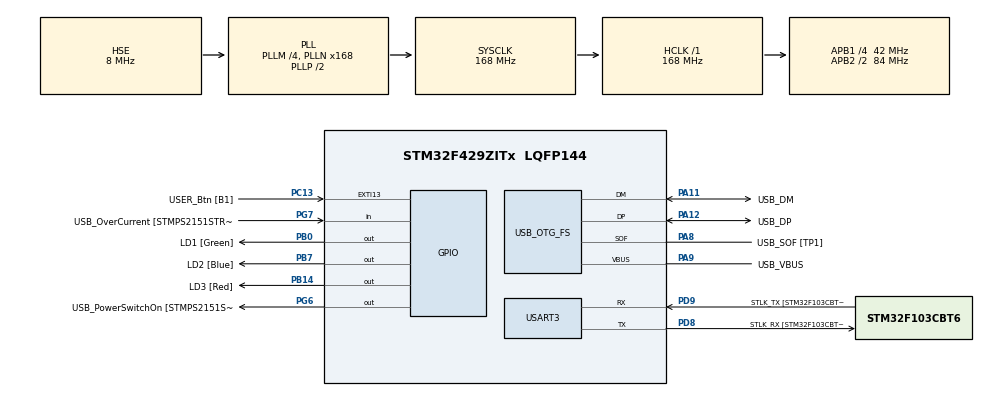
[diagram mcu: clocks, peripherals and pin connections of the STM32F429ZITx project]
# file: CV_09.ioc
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Mcu.Family=STM32F4
Mcu.Name=STM32F429ZITx
Mcu.Package=LQFP144
NVIC.OTG_FS_IRQn=true\:0\:0\:false\:false\:true\:false\:true
NVIC.PriorityGroup=NVIC_PRIORITYGROUP_4
PA1.GPIO_Label=RMII_REF_CLK [LAN8742A-CZ-TR_REFCLK0]
PA1.Signal=ETH_REF_CLK
PA10.GPIO_Label=USB_ID
PA10.Signal=USB_OTG_FS_ID
PA11.GPIO_Label=USB_DM
PA11.Mode=Device_Only
PA11.Signal=USB_OTG_FS_DM
PA12.GPIO_Label=USB_DP
PA12.Mode=Device_Only
PA12.Signal=USB_OTG_FS_DP
PA13.GPIO_Label=TMS
PA13.Mode=Serial_Wire
PA13.Signal=SYS_JTMS-SWDIO
PA14.GPIO_Label=TCK
PA14.Mode=Serial_Wire
PA14.Signal=SYS_JTCK-SWCLK
PA2.GPIO_Label=RMII_MDIO [LAN8742A-CZ-TR_MDIO]
PA2.Signal=ETH_MDIO
PA7.GPIO_Label=RMII_CRS_DV [LAN8742A-CZ-TR_CRS_DV]
PA7.Signal=ETH_CRS_DV
PA8.GPIO_Label=USB_SOF [TP1]
PA8.Mode=Activate_SOF_FS
PA8.Signal=USB_OTG_FS_SOF
PA9.GPIO_Label=USB_VBUS
PA9.Mode=Activate_VBUS
PA9.Signal=USB_OTG_FS_VBUS
PB0.GPIO_Label=LD1 [Green]
PB0.Signal=GPIO_Output
PB13.GPIO_Label=RMII_TXD1 [LAN8742A-CZ-TR_TXD1]
PB13.Signal=ETH_TXD1
PB14.GPIO_Label=LD3 [Red]
PB14.Signal=GPIO_Output
PB7.GPIO_Label=LD2 [Blue]
PB7.Signal=GPIO_Output
PC1.GPIO_Label=RMII_MDC [LAN8742A-CZ-TR_MDC]
PC1.Signal=ETH_MDC
PC13.GPIO_Label=USER_Btn [B1]
PC13.Signal=GPXTI13
PC14/OSC32_IN.Mode=LSE-External-Oscillator
PC14/OSC32_IN.Signal=RCC_OSC32_IN
PC15/OSC32_OUT.Mode=LSE-External-Oscillator
PC15/OSC32_OUT.Signal=RCC_OSC32_OUT
PC4.GPIO_Label=RMII_RXD0 [LAN8742A-CZ-TR_RXD0]
PC4.Signal=ETH_RXD0
PC5.GPIO_Label=RMII_RXD1 [LAN8742A-CZ-TR_RXD1]
PC5.Signal=ETH_RXD1
PD8.GPIO_Label=STLK_RX [STM32F103CBT6_PA3]
PD8.Mode=Asynchronous
PD8.Signal=USART3_TX
PD9.GPIO_Label=STLK_TX [STM32F103CBT6_PA2]
PD9.Mode=Asynchronous
PD9.Signal=USART3_RX
PG11.GPIO_Label=RMII_TX_EN [LAN8742A-CZ-TR_TXEN]
PG11.Signal=ETH_TX_EN
PG13.GPIO_Label=RMII_TXD0 [LAN8742A-CZ-TR_TXD0]
PG13.Signal=ETH_TXD0
PG6.GPIO_Label=USB_PowerSwitchOn [STMPS2151STR_EN]
PG6.Signal=GPIO_Output
PG7.GPIO_Label=USB_OverCurrent [STMPS2151STR_FAULT]
PG7.Signal=GPIO_Input
PH0/OSC_IN.GPIO_Label=MCO [STM32F103CBT6_PA8]
PH0/OSC_IN.Mode=HSE-External-Clock-Source
PH0/OSC_IN.Signal=RCC_OSC_IN
PH1/OSC_OUT.Mode=HSE-External-Clock-Source
PH1/OSC_OUT.Signal=RCC_OSC_OUT
ProjectManager.HeapSize=0x200
ProjectManager.StackSize=0x400
ProjectManager.TargetToolchain=STM32CubeIDE
RCC.48MHZClocksFreq_Value=48000000
RCC.AHBFreq_Value=168000000
RCC.APB1CLKDivider=RCC_HCLK_DIV4
RCC.APB1Freq_Value=42000000
RCC.APB1TimFreq_Value=84000000
RCC.APB2CLKDivider=RCC_HCLK_DIV2
RCC.APB2Freq_Value=84000000
RCC.APB2TimCLKDivider=2
RCC.APB2TimFreq_Value=168000000
RCC.CortexFreq_Value=168000000
RCC.HCLKFreq_Value=168000000
RCC.HSE_VALUE=8000000
RCC.HSI_VALUE=16000000
RCC.PLLM=4
RCC.PLLMUL=RCC_PLL_MUL9
RCC.PLLN=168
RCC.PLLQ=7
RCC.PRESCALERUSB=RCC_USBCLKSOURCE_PLL_DIV1_5
RCC.SYSCLKFreq_VALUE=168000000
RCC.SYSCLKSource=RCC_SYSCLKSOURCE_PLLCLK
RCC.SYSCLKSourceVirtual=RCC_SYSCLKSOURCE_PLLCLK
RCC.USBFreq_Value=48000000
RCC.VCOOutputFreq_Value=336000000
USART3.VirtualMode=VM_ASYNC
USB_DEVICE.CLASS_NAME_FS=HID
USB_DEVICE.VirtualMode-HID_FS=Hid
USB_DEVICE.VirtualModeFS=Hid_FS
USB_OTG_FS.VirtualMode=Device_Only
VP_USB_DEVICE_VS_USB_DEVICE_HID_FS.Mode=HID_FS
board=NUCLEO-F429ZI

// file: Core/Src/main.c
/* USER CODE BEGIN Header */
/**
  ******************************************************************************
  * @file           : main.c
  * @brief          : Main program body
  ******************************************************************************
  * @attention
  *
  * <h2><center>&copy; Copyright (c) 2020 STMicroelectronics.
  * All rights reserved.</center></h2>
  *
  * This software component is licensed by ST under BSD 3-Clause license,
  * the "License"; You may not use this file except in compliance with the
  * License. You may obtain a copy of the License at:
  *                        opensource.org/licenses/BSD-3-Clause
  *
  ******************************************************************************
  */
/* USER CODE END Header */
#include "main.h"
#include "usb_device.h"

/* USER CODE BEGIN Includes */
#include "usbd_hid.h"
#include <math.h>
#include <stdbool.h>
/* USER CODE END Includes */

UART_HandleTypeDef huart3;

/* USER CODE BEGIN PV */

extern USBD_HandleTypeDef hUsbDeviceFS;

/* USER CODE END PV */

void SystemClock_Config(void);
static void MX_GPIO_Init(void);
static void MX_USART3_UART_Init(void);
/* USER CODE BEGIN PFP */

void step (int16_t x, int16_t y, bool btn)
{
	uint8_t buff[4];

	if (btn == 1)
	{
		buff[0] = 0x01;
	}
	else buff[0] = 0x00;

	buff[1] = (int8_t)(x); 					// posun X
	buff[2] = (int8_t)(y); 					// posun Y
	buff[3] = 0;							// bez scrollu
	USBD_HID_SendReport(&hUsbDeviceFS, buff, sizeof(buff));
	HAL_Delay(USBD_HID_GetPollingInterval(&hUsbDeviceFS));
}

void kruznice(uint16_t r)
{
	for (uint16_t phi = 0; phi < 360; phi++)
	{
		static int8_t x = 0;
		static int8_t y = 0;

		float x_phi = r*sin(phi);
		float y_phi = r*cos(phi);

		int8_t delta_x = x-x_phi;
		int8_t delta_y = y-y_phi;

		step(delta_x, delta_y,1);

		x = delta_x;
		y = delta_y;

	}

}

void pul_kruznice(uint16_t r)
{
	for (uint16_t phi = 180; phi < 360; phi++)
	{
		static int8_t x = 0;
		static int8_t y = 0;

		float x_phi = r*sin(phi);
		float y_phi = r*cos(phi);

		int8_t delta_x = x-x_phi;
		int8_t delta_y = y-y_phi;

		step(delta_x, delta_y,1);

		x = delta_x;
		y = delta_y;

	}

}

void sad_face()
{
	kruznice(140);
	step(-220, 50,0);
	kruznice(15);
	step(160,0,0);
	kruznice(20);
	step(-80,-80,0);
	pul_kruznice(100);
	step(200,0,1);

}

/* USER CODE END PFP */

int main(void)
{

  /* MCU Configuration--------------------------------------------------------*/

  /* Reset of all peripherals, Initializes the Flash interface and the Systick. */
  HAL_Init();

  /* Configure the system clock */
  SystemClock_Config();

  /* Initialize all configured peripherals */
  MX_GPIO_Init();
  MX_USART3_UART_Init();
  MX_USB_DEVICE_Init();

  /* Infinite loop */
  /* USER CODE BEGIN WHILE */
  while (1)
  {

	  do { HAL_Delay(40);} while (!HAL_GPIO_ReadPin(USER_Btn_GPIO_Port, USER_Btn_Pin));

	  /*
	  uint8_t buff[4];
	  buff[0] = 0x01; 				// stiskni leve tlacitko
	  buff[1] = (int8_t)(10); 		// posun X +10
	  buff[2] = (int8_t)(-3); 		// posun Y -3
	  buff[3] = 0;					 // bez scrollu
	  USBD_HID_SendReport(&hUsbDeviceFS, buff, sizeof(buff));
	  HAL_Delay(USBD_HID_GetPollingInterval(&hUsbDeviceFS));
*/

    /* USER CODE END WHILE */

  }
}

void SystemClock_Config(void)
{
  RCC_OscInitTypeDef RCC_OscInitStruct = {0};
  RCC_ClkInitTypeDef RCC_ClkInitStruct = {0};

  /** Configure the main internal regulator output voltage
  */
  __HAL_RCC_PWR_CLK_ENABLE();
  __HAL_PWR_VOLTAGESCALING_CONFIG(PWR_REGULATOR_VOLTAGE_SCALE1);
  /** Initializes the RCC Oscillators according to the specified parameters
  * in the RCC_OscInitTypeDef structure.
  */
  RCC_OscInitStruct.OscillatorType = RCC_OSCILLATORTYPE_HSE;
  RCC_OscInitStruct.HSEState = RCC_HSE_BYPASS;
  RCC_OscInitStruct.PLL.PLLState = RCC_PLL_ON;
  RCC_OscInitStruct.PLL.PLLSource = RCC_PLLSOURCE_HSE;
  RCC_OscInitStruct.PLL.PLLM = 4;
  RCC_OscInitStruct.PLL.PLLN = 168;
  RCC_OscInitStruct.PLL.PLLP = RCC_PLLP_DIV2;
  RCC_OscInitStruct.PLL.PLLQ = 7;
  if (HAL_RCC_OscConfig(&RCC_OscInitStruct) != HAL_OK)
  {
    Error_Handler();
  }
  /** Initializes the CPU, AHB and APB buses clocks
  */
  RCC_ClkInitStruct.ClockType = RCC_CLOCKTYPE_HCLK|RCC_CLOCKTYPE_SYSCLK
                              |RCC_CLOCKTYPE_PCLK1|RCC_CLOCKTYPE_PCLK2;
  RCC_ClkInitStruct.SYSCLKSource = RCC_SYSCLKSOURCE_PLLCLK;
  RCC_ClkInitStruct.AHBCLKDivider = RCC_SYSCLK_DIV1;
  RCC_ClkInitStruct.APB1CLKDivider = RCC_HCLK_DIV4;
  RCC_ClkInitStruct.APB2CLKDivider = RCC_HCLK_DIV2;

  if (HAL_RCC_ClockConfig(&RCC_ClkInitStruct, FLASH_LATENCY_5) != HAL_OK)
  {
    Error_Handler();
  }
}

static void MX_USART3_UART_Init(void)
{

  huart3.Instance = USART3;
  huart3.Init.BaudRate = 115200;
  huart3.Init.WordLength = UART_WORDLENGTH_8B;
  huart3.Init.StopBits = UART_STOPBITS_1;
  huart3.Init.Parity = UART_PARITY_NONE;
  huart3.Init.Mode = UART_MODE_TX_RX;
  huart3.Init.HwFlowCtl = UART_HWCONTROL_NONE;
  huart3.Init.OverSampling = UART_OVERSAMPLING_16;
  if (HAL_UART_Init(&huart3) != HAL_OK)
  {
    Error_Handler();
  }

}

static void MX_GPIO_Init(void)
{
  GPIO_InitTypeDef GPIO_InitStruct = {0};

  /* GPIO Ports Clock Enable */
  __HAL_RCC_GPIOC_CLK_ENABLE();
  __HAL_RCC_GPIOH_CLK_ENABLE();
  __HAL_RCC_GPIOA_CLK_ENABLE();
  __HAL_RCC_GPIOB_CLK_ENABLE();
  __HAL_RCC_GPIOD_CLK_ENABLE();
  __HAL_RCC_GPIOG_CLK_ENABLE();

  /*Configure GPIO pin Output Level */
  HAL_GPIO_WritePin(GPIOB, LD1_Pin|LD3_Pin|LD2_Pin, GPIO_PIN_RESET);

  /*Configure GPIO pin Output Level */
  HAL_GPIO_WritePin(USB_PowerSwitchOn_GPIO_Port, USB_PowerSwitchOn_Pin, GPIO_PIN_RESET);

  /*Configure GPIO pin : USER_Btn_Pin */
  GPIO_InitStruct.Pin = USER_Btn_Pin;
  GPIO_InitStruct.Mode = GPIO_MODE_IT_RISING;
  GPIO_InitStruct.Pull = GPIO_NOPULL;
  HAL_GPIO_Init(USER_Btn_GPIO_Port, &GPIO_InitStruct);

  /*Configure GPIO pins : RMII_MDC_Pin RMII_RXD0_Pin RMII_RXD1_Pin */
  GPIO_InitStruct.Pin = RMII_MDC_Pin|RMII_RXD0_Pin|RMII_RXD1_Pin;
  GPIO_InitStruct.Mode = GPIO_MODE_AF_PP;
  GPIO_InitStruct.Pull = GPIO_NOPULL;
  GPIO_InitStruct.Speed = GPIO_SPEED_FREQ_VERY_HIGH;
  GPIO_InitStruct.Alternate = GPIO_AF11_ETH;
  HAL_GPIO_Init(GPIOC, &GPIO_InitStruct);

  /*Configure GPIO pins : RMII_REF_CLK_Pin RMII_MDIO_Pin RMII_CRS_DV_Pin */
  GPIO_InitStruct.Pin = RMII_REF_CLK_Pin|RMII_MDIO_Pin|RMII_CRS_DV_Pin;
  GPIO_InitStruct.Mode = GPIO_MODE_AF_PP;
  GPIO_InitStruct.Pull = GPIO_NOPULL;
  GPIO_InitStruct.Speed = GPIO_SPEED_FREQ_VERY_HIGH;
  GPIO_InitStruct.Alternate = GPIO_AF11_ETH;
  HAL_GPIO_Init(GPIOA, &GPIO_InitStruct);

  /*Configure GPIO pins : LD1_Pin LD3_Pin LD2_Pin */
  GPIO_InitStruct.Pin = LD1_Pin|LD3_Pin|LD2_Pin;
  GPIO_InitStruct.Mode = GPIO_MODE_OUTPUT_PP;
  GPIO_InitStruct.Pull = GPIO_NOPULL;
  GPIO_InitStruct.Speed = GPIO_SPEED_FREQ_LOW;
  HAL_GPIO_Init(GPIOB, &GPIO_InitStruct);

  /*Configure GPIO pin : RMII_TXD1_Pin */
  GPIO_InitStruct.Pin = RMII_TXD1_Pin;
  GPIO_InitStruct.Mode = GPIO_MODE_AF_PP;
  GPIO_InitStruct.Pull = GPIO_NOPULL;
  GPIO_InitStruct.Speed = GPIO_SPEED_FREQ_VERY_HIGH;
  GPIO_InitStruct.Alternate = GPIO_AF11_ETH;
  HAL_GPIO_Init(RMII_TXD1_GPIO_Port, &GPIO_InitStruct);

  /*Configure GPIO pin : USB_PowerSwitchOn_Pin */
  GPIO_InitStruct.Pin = USB_PowerSwitchOn_Pin;
  GPIO_InitStruct.Mode = GPIO_MODE_OUTPUT_PP;
  GPIO_InitStruct.Pull = GPIO_NOPULL;
  GPIO_InitStruct.Speed = GPIO_SPEED_FREQ_LOW;
  HAL_GPIO_Init(USB_PowerSwitchOn_GPIO_Port, &GPIO_InitStruct);

  /*Configure GPIO pin : USB_OverCurrent_Pin */
  GPIO_InitStruct.Pin = USB_OverCurrent_Pin;
  GPIO_InitStruct.Mode = GPIO_MODE_INPUT;
  GPIO_InitStruct.Pull = GPIO_NOPULL;
  HAL_GPIO_Init(USB_OverCurrent_GPIO_Port, &GPIO_InitStruct);

  /*Configure GPIO pins : RMII_TX_EN_Pin RMII_TXD0_Pin */
  GPIO_InitStruct.Pin = RMII_TX_EN_Pin|RMII_TXD0_Pin;
  GPIO_InitStruct.Mode = GPIO_MODE_AF_PP;
  GPIO_InitStruct.Pull = GPIO_NOPULL;
  GPIO_InitStruct.Speed = GPIO_SPEED_FREQ_VERY_HIGH;
  GPIO_InitStruct.Alternate = GPIO_AF11_ETH;
  HAL_GPIO_Init(GPIOG, &GPIO_InitStruct);

}

void Error_Handler(void)
{
}

/************************ (C) COPYRIGHT STMicroelectronics *****END OF FILE****/
